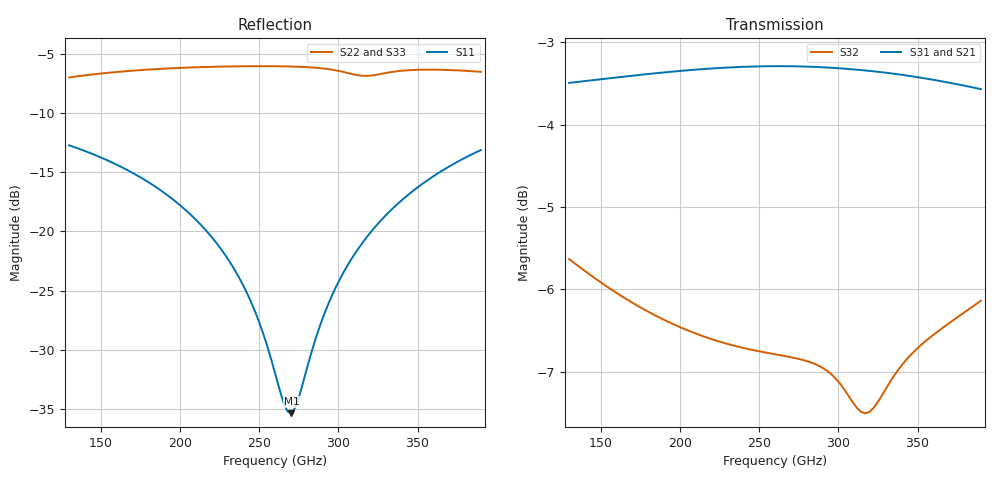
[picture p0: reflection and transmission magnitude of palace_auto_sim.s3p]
#  GHZ S DB R 50
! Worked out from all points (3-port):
!   101 points, 130 GHz to 390 GHz, reference 50 ohm
!   strongest paths, dB at 130 GHz, 195 GHz, 260 GHz, 325 GHz, 390 GHz:
!     S31: -3.5, -3.4, -3.3, -3.4, -3.6
!     S21: -3.5, -3.4, -3.3, -3.4, -3.6
!     S32: -5.6, -6.4, -6.8, -7.4, -6.1
!   lowest |S11| = -35.4 dB at 270.4 GHz (marker M1), VSWR 1.03, Z = 51.7 - j0.243 ohm
!   |S11| at or under -10 dB: start of sweep to end of sweep
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130  -12.74 132.7  -3.50 -43.7  -3.49 -43.7
     -3.50 -43.7  -7.01 51.7  -5.63 -97.3
     -3.49 -43.7  -5.63 -97.3  -7.03 51.6
179.4  -15.79 113.5  -3.40 -60.9  -3.39 -60.9
       -3.40 -60.9  -6.35 26.6  -6.27 -129.1
       -3.39 -60.9  -6.27 -129.1  -6.37 26.5
215.8  -19.83 96.9  -3.34 -73.9  -3.32 -73.9
       -3.34 -73.9  -6.13 11.2  -6.58 -151.8
       -3.32 -73.9  -6.58 -151.8  -6.15 11.1
241.8  -25.06 79.3  -3.31 -83.3  -3.30 -83.3
       -3.31 -83.3  -6.06 1.0  -6.72 -168.0
       -3.30 -83.3  -6.72 -168.0  -6.09 0.9
260  -31.95 48.0  -3.30 -89.9  -3.29 -89.9
     -3.30 -89.9  -6.06 -6.0  -6.79 -179.4
     -3.29 -89.9  -6.79 -179.4  -6.09 -6.1
270.4  -35.36 -7.9  -3.31 -93.7  -3.29 -93.7
       -3.31 -93.7  -6.08 -10.0  -6.83 174.0
       -3.29 -93.7  -6.83 174.0  -6.12 -10.1
293.8  -26.08 -82.0  -3.32 -102.2  -3.31 -102.3
       -3.32 -102.2  -6.30 -19.3  -7.00 158.7
       -3.31 -102.3  -7.00 158.7  -6.34 -19.4
314.6  -21.08 -98.6  -3.35 -109.8  -3.34 -109.9
       -3.35 -109.8  -6.86 -24.7  -7.49 147.6
       -3.34 -109.9  -7.49 147.6  -6.90 -24.9
345.8  -16.73 -114.4  -3.43 -121.1  -3.41 -121.2
       -3.43 -121.1  -6.39 -33.4  -6.79 131.9
       -3.41 -121.2  -6.79 131.9  -6.43 -33.5
390  -13.13 -132.7  -3.59 -137.0  -3.57 -137.1
     -3.59 -137.0  -6.53 -53.7  -6.14 102.7
     -3.57 -137.1  -6.14 102.7  -6.58 -53.8
